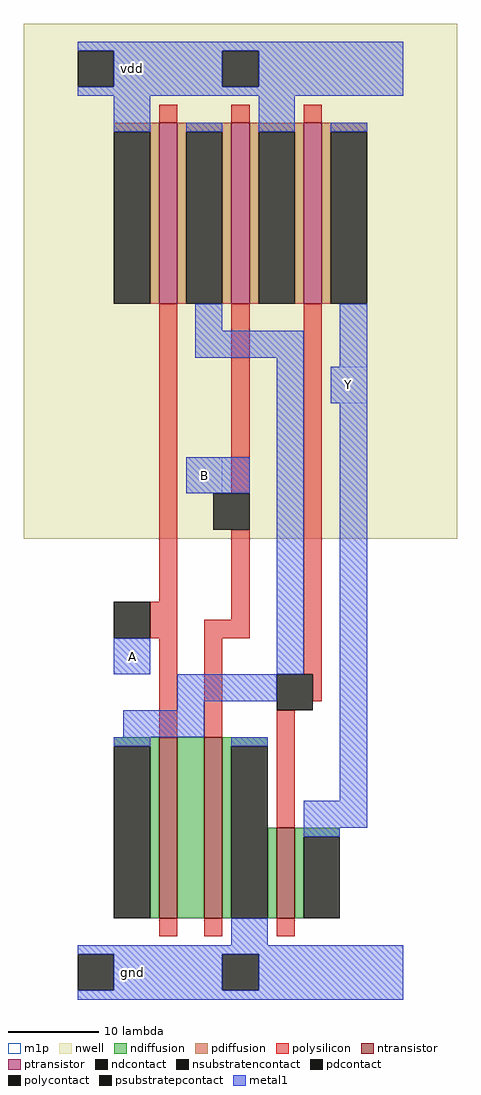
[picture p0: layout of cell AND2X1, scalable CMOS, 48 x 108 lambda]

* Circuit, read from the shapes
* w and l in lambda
.subckt AND2X1 A B Y gnd vdd
M1 n1 A n2 gnd nfet w=20 l=2
M2 gnd B n1 gnd nfet w=20 l=2
M3 Y n2 gnd gnd nfet w=10 l=2
M4 n2 A vdd vdd pfet w=20 l=2
M5 vdd B n2 vdd pfet w=20 l=2
M6 Y n2 vdd vdd pfet w=20 l=2
.ends

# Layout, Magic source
magic
tech scmos
<< nwell >>
rect -8 48 40 105
<< ntransistor >>
rect 7 6 9 26
rect 12 6 14 26
rect 20 6 22 16
<< ptransistor >>
rect 7 74 9 94
rect 15 74 17 94
rect 23 74 25 94
<< ndiffusion >>
rect 2 25 7 26
rect 6 6 7 25
rect 9 6 12 26
rect 14 25 19 26
rect 14 6 15 25
rect 19 6 20 16
rect 22 15 27 16
rect 22 6 23 15
<< pdiffusion >>
rect 2 93 7 94
rect 6 74 7 93
rect 9 93 15 94
rect 9 74 10 93
rect 14 74 15 93
rect 17 93 23 94
rect 17 74 18 93
rect 22 74 23 93
rect 25 93 30 94
rect 25 74 26 93
<< ndcontact >>
rect 2 6 6 25
rect 15 6 19 25
rect 23 6 27 15
<< pdcontact >>
rect 2 74 6 93
rect 10 74 14 93
rect 18 74 22 93
rect 26 74 30 93
<< psubstratepcontact >>
rect -2 -2 2 2
rect 14 -2 18 2
<< nsubstratencontact >>
rect -2 98 2 102
rect 14 98 18 102
<< polysilicon >>
rect 7 94 9 96
rect 15 94 17 96
rect 23 94 25 96
rect 7 41 9 74
rect 15 53 17 74
rect 6 37 9 41
rect 15 39 17 49
rect 7 26 9 37
rect 12 37 17 39
rect 12 26 14 37
rect 23 33 25 74
rect 24 30 25 33
rect 20 16 22 29
rect 7 4 9 6
rect 12 4 14 6
rect 20 4 22 6
<< polycontact >>
rect 13 49 17 53
rect 2 37 6 41
rect 20 29 24 33
<< metal1 >>
rect -2 102 34 103
rect 2 98 14 102
rect 18 98 34 102
rect -2 97 34 98
rect 2 93 6 97
rect 10 93 14 94
rect 18 93 22 97
rect 26 93 30 94
rect 11 71 14 74
rect 11 68 23 71
rect 10 53 17 57
rect 2 33 6 37
rect 20 33 23 68
rect 27 67 30 74
rect 26 63 30 67
rect 9 30 20 33
rect 9 29 12 30
rect 3 26 12 29
rect 2 25 6 26
rect 15 25 19 26
rect 27 19 30 63
rect 23 16 30 19
rect 23 15 27 16
rect 15 3 19 6
rect -2 2 34 3
rect 2 -2 14 2
rect 18 -2 34 2
rect -2 -3 34 -2
<< m1p >>
rect 26 63 30 67
rect 10 53 14 57
rect 2 33 6 37
<< labels >>
rlabel metal1 28 65 28 65 4 Y
rlabel metal1 12 55 12 55 4 B
rlabel metal1 4 100 4 100 4 vdd
rlabel metal1 4 0 4 0 4 gnd
rlabel metal1 4 35 4 35 4 A
<< end >>
